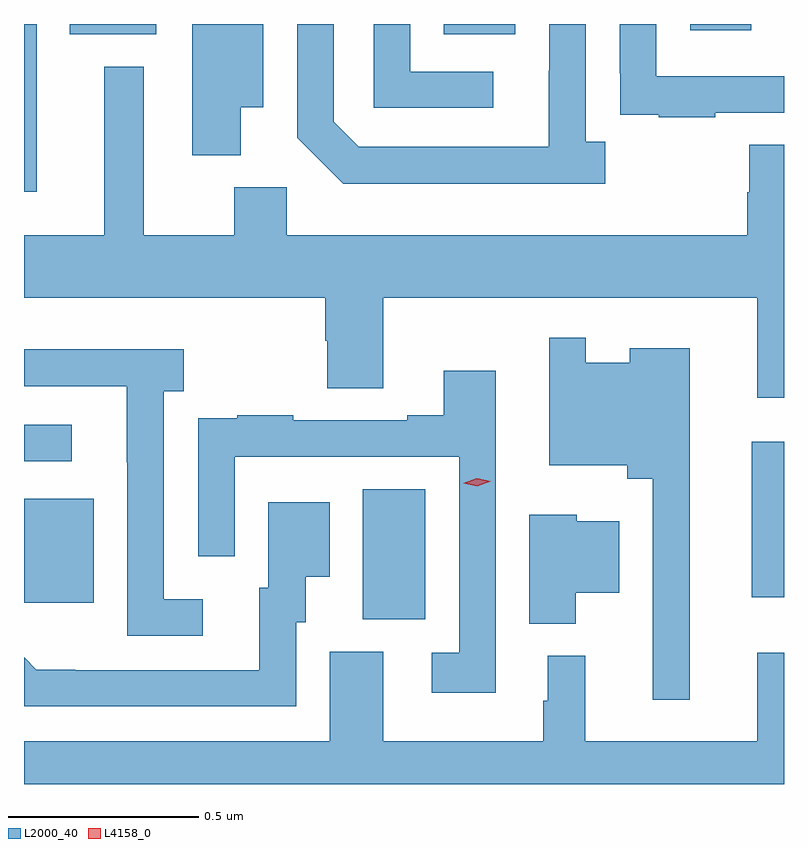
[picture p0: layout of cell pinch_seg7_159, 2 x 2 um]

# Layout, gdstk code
import gdstk
lib = gdstk.Library(unit=1e-6, precision=1e-09)
def R(c, l, rs):  # rectangles x0, y0, x1, y1
    for r in rs: c.add(gdstk.rectangle(r[:2], r[2:], *l))
def P(c, l, *ps):  # polygons
    for p in ps: c.add(gdstk.Polygon(p, *l))
L2000_40 = (2000, 40)
L4158_0 = (4158, 0)

pinch_seg7_159 = lib.new_cell('pinch_seg7_159')
R(pinch_seg7_159, L2000_40, [(1036.712,1011.757,1036.876,1012.1), (1035.82,1011.801,1036.003,1012.075), (1037.735,1011.815,1037.82,1012.225), (1035.82,1012.173,1035.946,1012.269), (1035.82,1012.883,1035.853,1013.324), (1035.941,1013.297,1036.168,1013.324), (1036.925,1013.297,1037.113,1013.324), (1037.573,1013.307,1037.734,1013.324)])
P(pinch_seg7_159, L2000_40, [(1037.35,1013.014),(1037.298,1013.014),(1037.298,1013.324),(1037.202,1013.324),(1037.202,1013.201),(1037.201,1013.201),(1037.201,1013.001),(1036.701,1013.001),(1036.635,1013.067),(1036.635,1013.324),(1036.539,1013.324),(1036.539,1013.025),(1036.66,1012.904),(1037.35,1012.904)],
  [(1036.39,1013.105),(1036.45,1013.105),(1036.45,1013.324),(1036.263,1013.324),(1036.263,1012.979),(1036.39,1012.979)],
  [(1037.055,1013.199),(1036.836,1013.199),(1036.836,1013.324),(1036.74,1013.324),(1036.74,1013.103),(1037.055,1013.103)],
  [(1037.639,1013.091),(1037.82,1013.091),(1037.82,1013.187),(1037.484,1013.187),(1037.484,1013.324),(1037.388,1013.324),(1037.388,1013.194),(1037.389,1013.194),(1037.389,1013.085),(1037.491,1013.085),(1037.491,1013.079),(1037.639,1013.079)],
  [(1037.82,1013.006),(1037.728,1013.006),(1037.728,1012.881),(1037.723,1012.881),(1037.723,1012.768),(1036.512,1012.768),(1036.512,1012.894),(1036.373,1012.894),(1036.373,1012.768),(1036.135,1012.768),(1036.135,1013.212),(1036.031,1013.212),(1036.031,1012.768),(1035.82,1012.768),(1035.82,1012.604),(1036.613,1012.604),(1036.613,1012.491),(1036.618,1012.491),(1036.618,1012.366),(1036.765,1012.366),(1036.765,1012.604),(1037.75,1012.604),(1037.75,1012.341),(1037.82,1012.341)],
  [(1037.572,1012.471),(1037.414,1012.471),(1037.414,1012.432),(1037.298,1012.432),(1037.298,1012.498),(1037.202,1012.498),(1037.202,1012.163),(1037.407,1012.163),(1037.407,1012.127),(1037.475,1012.127),(1037.475,1011.546),(1037.572,1011.546)],
  [(1036.291,1011.81),(1036.188,1011.81),(1036.188,1012.358),(1036.24,1012.358),(1036.24,1012.468),(1035.82,1012.468),(1035.82,1012.371),(1036.091,1012.371),(1036.091,1012.171),(1036.092,1012.171),(1036.092,1011.714),(1036.291,1011.714)],
  [(1037.061,1012.188),(1037.062,1012.188),(1037.062,1012.411),(1036.925,1012.411),(1036.925,1012.294),(1036.829,1012.294),(1036.829,1012.281),(1036.529,1012.281),(1036.529,1012.294),(1036.381,1012.294),(1036.381,1012.287),(1036.279,1012.287),(1036.279,1012.178),(1036.278,1012.178),(1036.278,1011.924),(1036.374,1011.924),(1036.374,1012.185),(1036.965,1012.185),(1036.965,1011.669),(1036.893,1011.669),(1036.893,1011.564),(1037.061,1011.564)],
  [(1036.536,1011.75),(1036.561,1011.75),(1036.561,1011.869),(1036.624,1011.869),(1036.624,1012.066),(1036.463,1012.066),(1036.463,1011.84),(1036.439,1011.84),(1036.439,1011.624),(1035.955,1011.624),(1035.955,1011.625),(1035.852,1011.625),(1035.82,1011.657),(1035.82,1011.528),(1036.536,1011.528)],
  [(1037.272,1011.827),(1037.386,1011.827),(1037.386,1012.015),(1037.274,1012.015),(1037.274,1012.033),(1037.15,1012.033),(1037.15,1011.746),(1037.272,1011.746)],
  [(1037.82,1011.67),(1037.75,1011.67),(1037.75,1011.436),(1037.297,1011.436),(1037.297,1011.661),(1037.198,1011.661),(1037.198,1011.543),(1037.187,1011.543),(1037.187,1011.436),(1036.765,1011.436),(1036.765,1011.672),(1036.625,1011.672),(1036.625,1011.436),(1035.82,1011.436),(1035.82,1011.324),(1037.82,1011.324)])
P(pinch_seg7_159, L4158_0, [(1037.013,1012.108),(1036.976,1012.116),(1036.976,1012.116),(1036.976,1012.116),(1037.011,1012.128),(1037.048,1012.121),(1037.048,1012.121),(1037.048,1012.121)])

lib.write_gds('pinch_seg7_159.gds')
